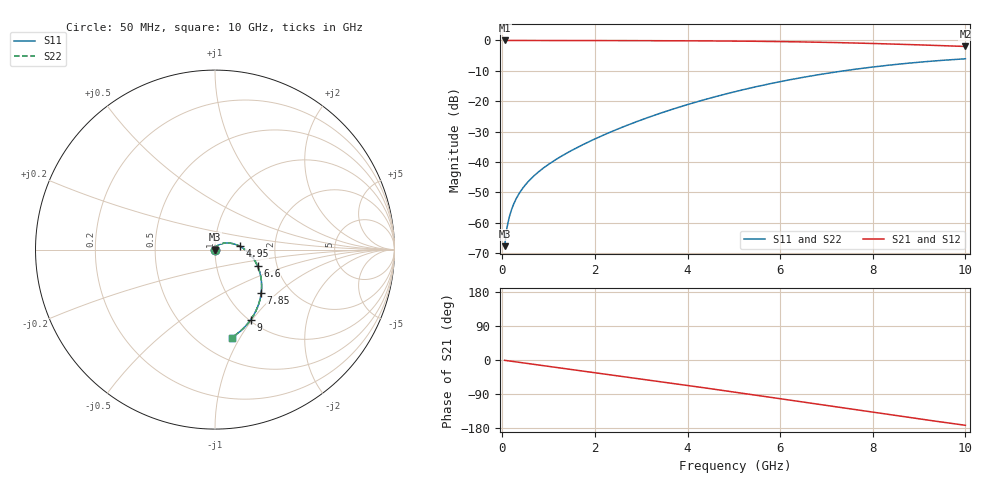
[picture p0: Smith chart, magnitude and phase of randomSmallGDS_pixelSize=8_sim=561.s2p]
! freq	dB(S11)	phase(S11)	dB(S12)	phase(S12)
!  dB(S21)	phase(S21)	dB(S22)	phase(S22)
!S-par simulation data
#  GHz  S  DB  R 50
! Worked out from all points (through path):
!   200 points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, 50 MHz to 10 GHz, reference 50 ohm
!   highest |S21| = 0.00 dB at 50 MHz (marker M1); lowest = -2.0 dB at 10 GHz (marker M2)
!   group delay of S21, straight-line fit = 48.2 ps
!   lowest |S11| = -67.8 dB at 50 MHz (marker M3), VSWR 1.00, Z = 50 + j0.0407 ohm
!   |S11| at or under -10 dB: start of sweep to 7.376 GHz
!   |S22| runs from -67.8 to -6.0 dB; largest |S21 - S12| = 0
!   S11 on the Smith chart (normalised r, x): 50 MHz: 1.00, +0.00; 4.95 GHz: 1.32, +0.05; 6.6 GHz: 1.58, -0.31; 7.85 GHz: 1.43, -0.79; 9 GHz: 1.02, -0.98; 10 GHz: 0.71, -0.92
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0.05  -67.78 85.2  -0.00 -0.8  -0.00 -0.8  -67.78 85.2
0.1  -61.77 86.5  -0.00 -1.7  -0.00 -1.7  -61.77 86.5
0.15  -58.24 86.4  -0.00 -2.5  -0.00 -2.5  -58.24 86.4
0.2  -55.72 86.0  -0.00 -3.4  -0.00 -3.4  -55.72 86.0
0.3  -52.15 84.9  -0.00 -5.0  -0.00 -5.0  -52.15 84.9
0.45  -48.51 82.9  -0.01 -7.5  -0.01 -7.5  -48.51 82.9
0.65  -45.09 80.0  -0.01 -10.8  -0.01 -10.8  -45.09 80.0
0.95  -41.34 75.5  -0.02 -15.8  -0.02 -15.8  -41.34 75.5
1.3  -37.93 70.1  -0.02 -21.6  -0.02 -21.6  -37.93 70.1
1.75  -34.26 62.9  -0.03 -29.1  -0.03 -29.1  -34.26 62.9
2.55  -28.84 49.5  -0.05 -42.5  -0.05 -42.5  -28.84 49.5
3.4  -24.04 34.9  -0.08 -56.8  -0.08 -56.8  -24.04 34.9
4.2  -20.23 21.0  -0.13 -70.6  -0.13 -70.6  -20.23 21.0
4.95  -17.16 7.9  -0.20 -83.6  -0.20 -83.6  -17.16 7.9
5.05  -16.78 6.1  -0.21 -85.4  -0.21 -85.4  -16.78 6.1
5.8  -14.20 -7.1  -0.33 -98.6  -0.33 -98.6  -14.20 -7.1
6.6  -11.87 -21.3  -0.51 -112.9  -0.51 -112.9  -11.87 -21.3
6.7  -11.61 -23.1  -0.54 -114.7  -0.54 -114.7  -11.61 -23.1
7.85  -9.03 -43.3  -0.93 -135.2  -0.93 -135.2  -9.03 -43.3
8.35  -8.14 -51.9  -1.15 -144.0  -1.15 -144.0  -8.14 -51.9
9  -7.17 -62.9  -1.45 -155.3  -1.45 -155.3  -7.17 -62.9
10  -6.04 -79.3  -1.98 -172.3  -1.98 -172.3  -6.05 -79.3
